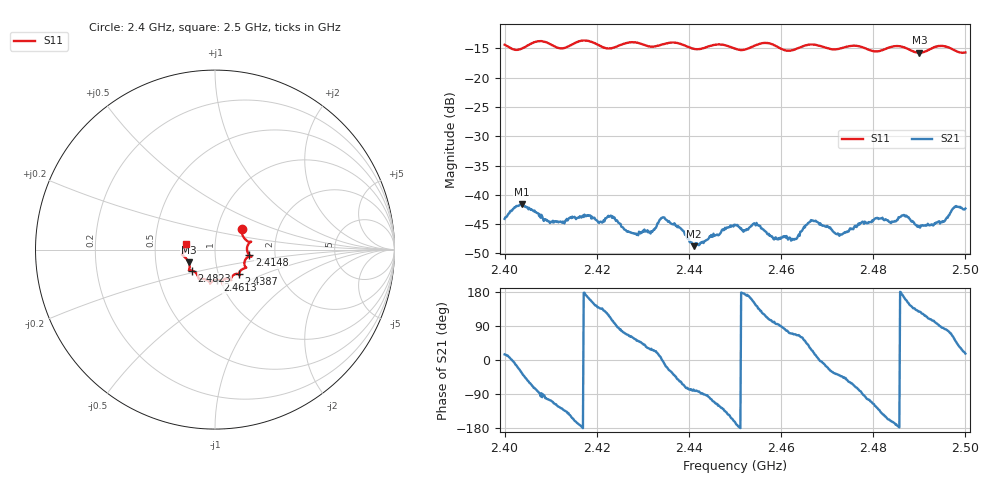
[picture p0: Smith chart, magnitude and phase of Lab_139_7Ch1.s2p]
# Hz S RI R 50
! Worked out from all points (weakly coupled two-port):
!   601 points, 2.4 GHz to 2.5 GHz, reference 50 ohm
!   highest |S21| = -41.56 dB at 2.4037 GHz (marker M1); lowest = -48.8 dB at 2.441 GHz (marker M2)
!   lowest |S11| = -15.7 dB at 2.49 GHz (marker M3), VSWR 1.39, Z = 36.8 - j5.3 ohm
!   |S11| at or under -10 dB: start of sweep to end of sweep
!   S12 and S22 are empty: the file has one direction only
!   S11 on the Smith chart (normalised r, x): 2.4 GHz: 1.31, +0.32; 2.4148 GHz: 1.47, -0.10; 2.4387 GHz: 1.25, -0.36; 2.4613 GHz: 0.97, -0.34; 2.4823 GHz: 0.75, -0.18; 2.5 GHz: 0.72, +0.04
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2.4e9  0.1516 0.1169  0.00603 0.00159  0 0  0 0
2.403667e9  0.1667 0.0591  0.00701 -0.00455  0 0  0 0
2.409833e9  0.1906 0.0361  -0.00159 -0.00551  0 0  0 0
2.414833e9  0.1912 -0.0315  -0.00579 -0.00277  0 0  0 0
2.416667e9  0.2033 -0.0397  -0.00638 -0.000494  0 0  0 0
2.423333e9  0.1639 -0.0721  -0.00155 0.00616  0 0  0 0
2.4285e9  0.1723 -0.1011  0.00275 0.00378  0 0  0 0
2.433333e9  0.1358 -0.1297  0.00553 0.00154  0 0  0 0
2.438667e9  0.1328 -0.1377  0.00212 -0.00447  0 0  0 0
2.441e9  0.1118 -0.1367  0.000758 -0.00357  0 0  0 0
2.45e9  0.0725 -0.1615  -0.00529 -0.00155  0 0  0 0
2.456667e9  0.0439 -0.1934  -0.00208 0.00438  0 0  0 0
2.461333e9  0.0136 -0.1693  0.000942 0.00423  0 0  0 0
2.463167e9  -0.012 -0.1749  0.0016 0.00387  0 0  0 0
2.466667e9  -0.027 -0.1904  0.00546 0.00258  0 0  0 0
2.472667e9  -0.0671 -0.1635  0.00338 -0.00292  0 0  0 0
2.482333e9  -0.128 -0.1181  -0.00498 -0.0035  0 0  0 0
2.483333e9  -0.1377 -0.1167  -0.00546 -0.00235  0 0  0 0
2.486833e9  -0.1435 -0.11  -0.00636 0.002  0 0  0 0
2.49e9  -0.1473 -0.0701  -0.00332 0.00424  0 0  0 0
2.494667e9  -0.1848 -0.0278  0.000209 0.00584  0 0  0 0
2.5e9  -0.1617 0.0298  0.0073 0.00224  0 0  0 0
